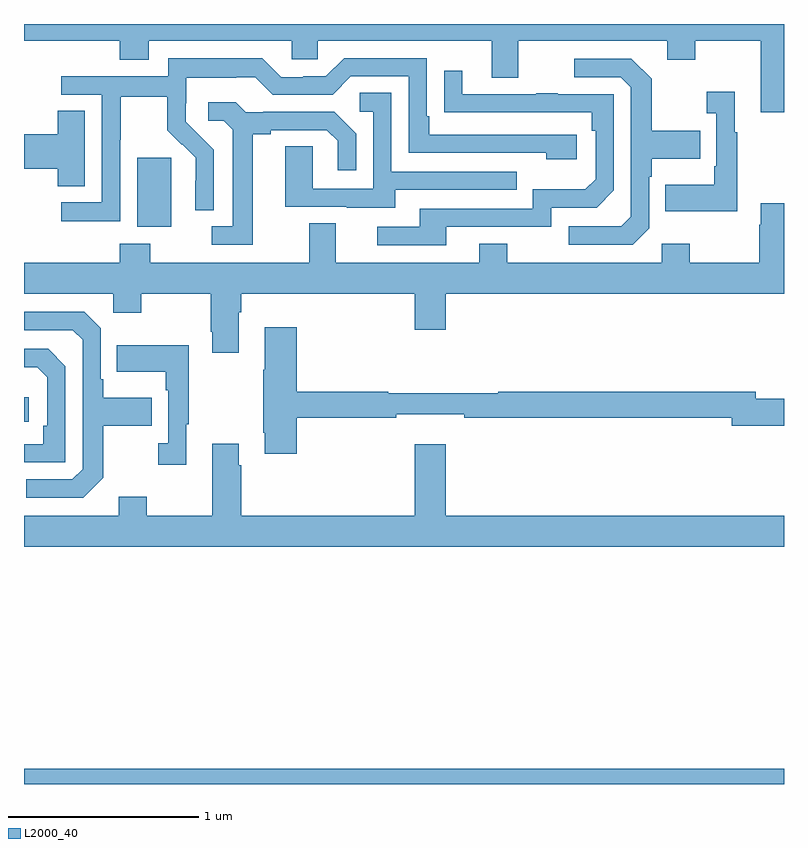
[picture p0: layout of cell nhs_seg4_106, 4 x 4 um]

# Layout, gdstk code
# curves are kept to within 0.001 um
import gdstk
lib = gdstk.Library(unit=1e-6, precision=1e-09)
def R(c, l, rs):  # rectangles x0, y0, x1, y1
    for r in rs: c.add(gdstk.rectangle(r[:2], r[2:], *l))
def P(c, l, *ps):  # polygons
    for p in ps: c.add(gdstk.Polygon(p, *l))
L2000_40 = (2000, 40)

nhs_seg4_106 = lib.new_cell('nhs_seg4_106')
R(nhs_seg4_106, L2000_40, [(115,800.9,119,800.98), (115,802.806,115.024,802.936), (115.595,803.834,115.774,804.195)])
P(nhs_seg4_106, L2000_40, [(119,804.9),(115,804.9),(115,804.812),(115.505,804.812),(115.505,804.713),(115.657,804.713),(115.657,804.812),(116.409,804.812),(116.409,804.714),(116.547,804.714),(116.547,804.812),(117.461,804.812),(117.461,804.618),(117.601,804.618),(117.601,804.812),(118.385,804.812),(118.385,804.713),(118.533,804.713),(118.533,804.812),(118.877,804.812),(118.877,804.435),(119,804.435)],
  [(115.506,804.292),(115.509,804.292),(115.509,804.516),(115.753,804.516),(115.753,804.341),(115.83,804.264),(115.833,804.267),(115.904,804.197),(115.904,804.074),(115.902,804.074),(115.902,803.92),(115.998,803.92),(115.998,804.238),(115.852,804.386),(115.852,804.483),(115.854,804.483),(115.854,804.617),(116.117,804.617),(116.117,804.621),(116.217,804.621),(116.31,804.528),(116.625,804.528),(116.721,804.624),(117.024,804.624),(117.024,804.222),(117.749,804.222),(117.749,804.188),(117.91,804.188),(117.91,804.318),(117.133,804.318),(117.133,804.415),(117.12,804.415),(117.12,804.72),(116.685,804.72),(116.589,804.624),(116.471,804.624),(116.471,804.621),(116.355,804.621),(116.255,804.721),(115.758,804.721),(115.758,804.624),(115.197,804.624),(115.197,804.528),(115.41,804.528),(115.41,803.961),(115.197,803.961),(115.197,803.863),(115.506,803.863)],
  [(118.29,803.826),(118.29,804.095),(118.303,804.095),(118.303,804.191),(118.559,804.191),(118.559,804.339),(118.303,804.339),(118.303,804.611),(118.197,804.717),(117.897,804.717),(117.897,804.621),(118.14,804.621),(118.194,804.567),(118.194,803.886),(118.143,803.835),(117.867,803.835),(117.867,803.739),(118.203,803.739)],
  [(117.223,803.832),(117.774,803.832),(117.774,803.934),(118.014,803.934),(118.104,804.024),(118.104,804.531),(117.809,804.531),(117.809,804.536),(117.697,804.536),(117.697,804.531),(117.307,804.531),(117.307,804.655),(117.211,804.655),(117.211,804.436),(117.988,804.435),(117.988,804.338),(118.008,804.338),(118.008,804.084),(117.955,804.031),(117.678,804.031),(117.678,803.928),(117.083,803.928),(117.083,803.832),(116.859,803.832),(116.859,803.736),(117.223,803.736)],
  [(118.753,804.331),(118.741,804.331),(118.741,804.544),(118.593,804.544),(118.593,804.431),(118.644,804.431),(118.644,804.151),(118.632,804.151),(118.632,804.055),(118.375,804.055),(118.375,803.915),(118.753,803.915)],
  [(116.953,804.027),(117.593,804.027),(117.593,804.123),(116.934,804.123),(116.934,804.539),(116.766,804.539),(116.766,804.438),(116.838,804.438),(116.838,804.033),(116.52,804.033),(116.52,804.257),(116.375,804.257),(116.375,803.937),(116.699,803.937),(116.699,803.933),(116.953,803.933)],
  [(116.203,804.32),(116.299,804.32),(116.299,804.342),(116.594,804.342),(116.651,804.285),(116.651,804.129),(116.748,804.129),(116.748,804.322),(116.632,804.438),(116.26,804.438),(116.26,804.435),(116.166,804.435),(116.114,804.487),(115.971,804.487),(115.971,804.39),(116.052,804.39),(116.099,804.343),(116.099,803.835),(115.989,803.835),(115.989,803.739),(116.203,803.739)],
  [(115.321,804.443),(115.178,804.443),(115.178,804.32),(115,804.32),(115,804.137),(115.178,804.137),(115.178,804.046),(115.321,804.046)],
  [(116.131,803.384),(116.144,803.384),(116.144,803.48),(117.056,803.48),(117.056,803.292),(117.22,803.292),(117.22,803.48),(119,803.48),(119,803.956),(118.877,803.956),(118.877,803.843),(118.87,803.843),(118.87,803.644),(118.503,803.644),(118.503,803.743),(118.356,803.743),(118.356,803.644),(117.543,803.644),(117.543,803.743),(117.395,803.743),(117.395,803.644),(116.641,803.644),(116.641,803.852),(116.501,803.852),(116.501,803.644),(115.665,803.644),(115.665,803.743),(115.505,803.743),(115.505,803.644),(115,803.644),(115,803.48),(115.47,803.48),(115.47,803.381),(115.617,803.381),(115.617,803.48),(115.984,803.48),(115.984,803.281),(115.991,803.281),(115.991,803.169),(116.131,803.169)],
  [(115.417,802.513),(115.417,802.786),(115.673,802.786),(115.673,802.933),(115.417,802.933),(115.417,803.029),(115.404,803.029),(115.404,803.298),(115.317,803.385),(115,803.385),(115,803.289),(115.257,803.289),(115.308,803.238),(115.308,802.557),(115.254,802.503),(115.011,802.503),(115.011,802.407),(115.311,802.407)],
  [(116.435,802.828),(116.96,802.828),(116.96,802.847),(117.316,802.847),(117.316,802.828),(118.724,802.828),(118.724,802.786),(119,802.786),(119,802.928),(118.852,802.928),(118.852,802.964),(117.495,802.964),(117.495,802.957),(116.918,802.957),(116.918,802.964),(116.435,802.964),(116.435,803.305),(116.267,803.305),(116.267,803.081),(116.26,803.081),(116.26,802.75),(116.267,802.75),(116.267,802.638),(116.435,802.638)],
  [(115.855,802.793),(115.867,802.793),(115.867,803.209),(115.489,803.209),(115.489,803.069),(115.746,803.069),(115.746,802.973),(115.758,802.973),(115.758,802.694),(115.707,802.694),(115.707,802.581),(115.855,802.581)],
  [(115.218,803.1),(115.128,803.19),(115,803.19),(115,803.093),(115.069,803.093),(115.122,803.04),(115.122,802.786),(115.102,802.786),(115.102,802.689),(115,802.689),(115,802.593),(115.218,802.593)],
  [(119,802.312),(117.22,802.312),(117.22,802.687),(117.056,802.687),(117.056,802.312),(116.144,802.312),(116.144,802.577),(116.131,802.577),(116.131,802.69),(115.991,802.69),(115.991,802.312),(115.647,802.312),(115.647,802.411),(115.499,802.411),(115.499,802.312),(115,802.312),(115,802.148),(119,802.148)])

lib.write_gds('nhs_seg4_106.gds')
